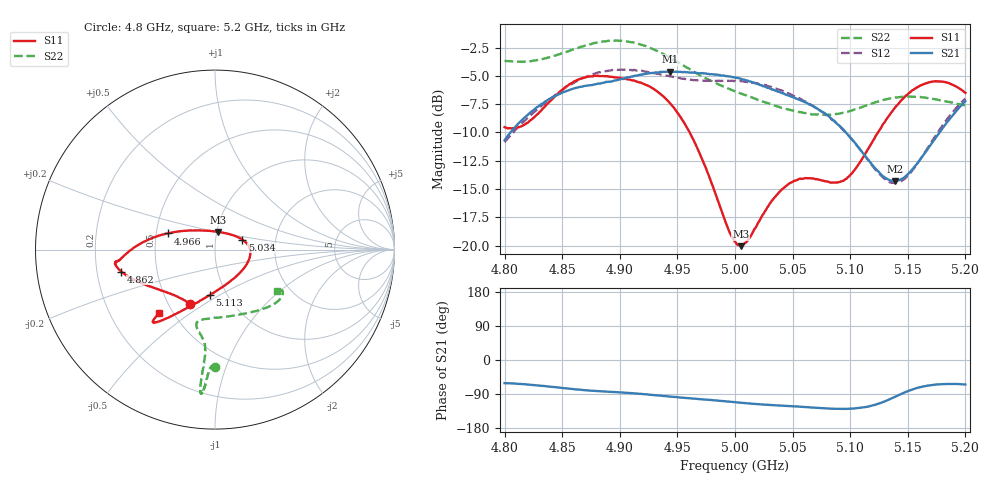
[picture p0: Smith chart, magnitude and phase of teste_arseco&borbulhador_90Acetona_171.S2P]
! Network Analyzer HP8722D
! Hewlett-Packard
! Data name: Linha & Wilkinson
! Saver's name: Rodrigo Anjos
! Comments: Teste da utilização de aquisição
! continua pelo VNA HP8722D
! Time and date: 17/4/2025 12:28
!  Frequency  S11  S21  S12  S22
# HZ  S  MA R 50
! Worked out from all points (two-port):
!   401 points, 4.8 GHz to 5.2 GHz, reference 50 ohm
!   highest |S21| = -4.62 dB at 4.944 GHz (marker M1); lowest = -14.3 dB at 5.139 GHz (marker M2)
!   |S21| within 3 dB of the highest: 4.83 GHz to 5.067 GHz (236.2 MHz wide, 4.77 % of centre); 5.196416 GHz to end of sweep
!   lowest |S11| = -20.1 dB at 5.005 GHz (marker M3), VSWR 1.22, Z = 50.6 + j10 ohm
!   |S11| at or under -10 dB: 4.961 GHz to 5.124 GHz (163.5 MHz wide, 3.24 % of centre)
!   |S22| runs from -8.5 to -1.9 dB; largest |S21 - S12| = 0.88
!   S11 on the Smith chart (normalised r, x): 4.8 GHz: 0.64, -0.44; 4.862 GHz: 0.31, -0.11; 4.966 GHz: 0.57, +0.11; 5.034 GHz: 1.35, +0.15; 5.113 GHz: 0.84, -0.45; 5.2 GHz: 0.42, -0.38
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4.8e9  0.3336 -114.2  0.2922 -61.1  0.2864 -175.3  0.6562 -90.0
4.819e9  0.3471 -134.2  0.3737 -64.4  0.3623 -174.0  0.6512 -91.6
4.862e9  0.5354 -166.7  0.4979 -77.7  0.5304 -177.3  0.7436 -94.1
4.867e9  0.5479 -168.6  0.5035 -79.0  0.5461 -178.2  0.757 -94.2
4.9e9  0.5511 -173.2  0.5428 -85.5  0.598 175.3  0.8028 -95.6
4.934e9  0.4734 -179.3  0.5819 -93.8  0.5739 171.5  0.7165 -96.0
4.944e9  0.4236 176.0  0.5876 -96.5  0.5582 171.7  0.6748 -95.8
4.966e9  0.2785 161.1  0.5795 -102.3  0.5379 173.5  0.5797 -95.3
5e9  0.1041 98.6  0.5525 -111.4  0.5344 175.9  0.481 -99.6
5.005e9  0.0994 81.0  0.5459 -112.8  0.5329 175.9  0.4689 -100.7
5.012e9  0.1073 59.2  0.5322 -114.5  0.5276 175.6  0.4558 -102.2
5.034e9  0.1622 20.1  0.4857 -119.5  0.4966 174.5  0.4157 -103.8
5.049e9  0.1901 4.9  0.4546 -121.8  0.4643 174.0  0.396 -100.1
5.067e9  0.1982 -14.3  0.4151 -125.3  0.4167 173.4  0.3794 -90.9
5.093e9  0.1928 -58.7  0.3293 -128.9  0.3279 173.9  0.385 -70.7
5.113e9  0.2543 -96.2  0.2487 -124.4  0.2484 -179.9  0.4141 -55.1
5.134e9  0.3765 -117.4  0.195 -103.9  0.1908 -156.8  0.4462 -43.1
5.139e9  0.4074 -120.4  0.1926 -97.0  0.1895 -149.0  0.4507 -41.0
5.151e9  0.4715 -125.4  0.2093 -81.1  0.2064 -130.6  0.4552 -36.6
5.17e9  0.5284 -129.7  0.2792 -66.4  0.2837 -112.5  0.4466 -32.2
5.184e9  0.5248 -131.0  0.3507 -63.3  0.3613 -107.5  0.4329 -31.3
5.2e9  0.4729 -131.4  0.435 -64.7  0.4462 -106.8  0.4167 -33.7
